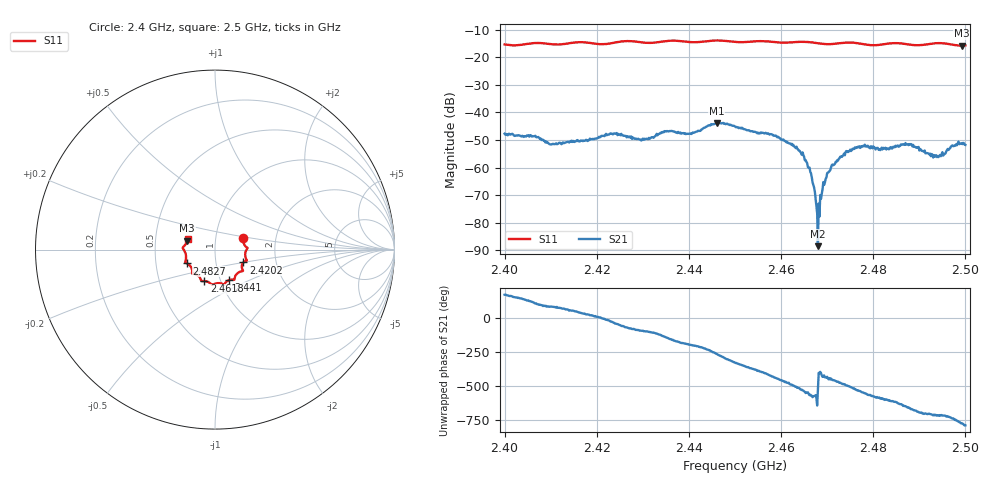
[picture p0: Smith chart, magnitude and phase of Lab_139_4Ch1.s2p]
# Hz S RI R 50
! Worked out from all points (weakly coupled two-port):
!   601 points, 2.4 GHz to 2.5 GHz, reference 50 ohm
!   highest |S21| = -43.80 dB at 2.446 GHz (marker M1); lowest = -88.5 dB at 2.468 GHz (marker M2)
!   lowest |S11| = -15.8 dB at 2.4992 GHz (marker M3), VSWR 1.39, Z = 36.4 + j3.66 ohm
!   |S11| at or under -10 dB: start of sweep to end of sweep
!   S12 and S22 are empty: the file has one direction only
!   S11 on the Smith chart (normalised r, x): 2.4 GHz: 1.36, +0.18; 2.4202 GHz: 1.36, -0.20; 2.441 GHz: 1.10, -0.39; 2.4618 GHz: 0.84, -0.30; 2.4827 GHz: 0.72, -0.12; 2.5 GHz: 0.73, +0.09
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2.4e9  0.1583 0.0628  -0.00402 0.000861  0 0  0 0
2.410167e9  0.1722 -0.00781  0.000407 0.0026  0 0  0 0
2.416667e9  0.1771 -0.061  0.00256 0.0017  0 0  0 0
2.420167e9  0.1586 -0.0713  0.0034 0.00031  0 0  0 0
2.429667e9  0.1399 -0.1231  -0.000301 -0.00307  0 0  0 0
2.433333e9  0.1115 -0.1509  -0.00208 -0.00347  0 0  0 0
2.441e9  0.0787 -0.1696  -0.00388 0.00176  0 0  0 0
2.446e9  0.0498 -0.1949  -0.000617 0.00643  0 0  0 0
2.45e9  0.0286 -0.1874  0.00475 0.00286  0 0  0 0
2.461833e9  -0.0592 -0.1754  -0.00158 -0.00225  0 0  0 0
2.4645e9  -0.075 -0.1748  -0.00166 -0.000365  0 0  0 0
2.466667e9  -0.0786 -0.1683  -0.000565 0.000352  0 0  0 0
2.468e9  -0.0821 -0.1594  -3.41e-05 -1.56e-05  0 0  0 0
2.4705e9  -0.0996 -0.1412  0.00011 -0.000851  0 0  0 0
2.473167e9  -0.1216 -0.1348  -0.000839 -0.00131  0 0  0 0
2.477833e9  -0.1272 -0.1171  -0.00244 0.00038  0 0  0 0
2.482667e9  -0.1559 -0.0773  -0.00116 0.00197  0 0  0 0
2.483333e9  -0.16 -0.0751  -0.000843 0.00198  0 0  0 0
2.487833e9  -0.1617 -0.0516  0.00143 0.00224  0 0  0 0
2.493833e9  -0.1799 0.00852  0.00154 5.68e-05  0 0  0 0
2.499167e9  -0.1548 0.0489  0.00166 -0.00219  0 0  0 0
2.5e9  -0.1522 0.0604  0.000939 -0.00239  0 0  0 0
